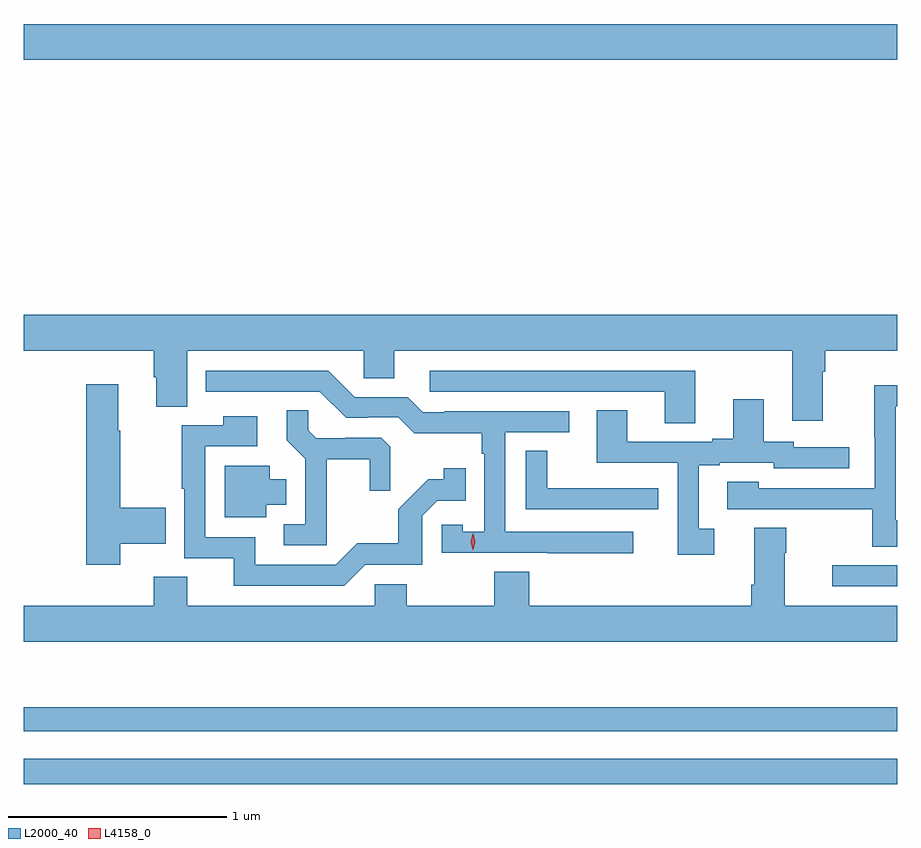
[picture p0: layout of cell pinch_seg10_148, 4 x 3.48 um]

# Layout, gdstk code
import gdstk
lib = gdstk.Library(unit=1e-6, precision=1e-09)
def R(c, l, rs):  # rectangles x0, y0, x1, y1
    for r in rs: c.add(gdstk.rectangle(r[:2], r[2:], *l))
def P(c, l, *ps):  # polygons
    for p in ps: c.add(gdstk.Polygon(p, *l))
L2000_40 = (2000, 40)
L4158_0 = (4158, 0)

pinch_seg10_148 = lib.new_cell('pinch_seg10_148')
R(pinch_seg10_148, L2000_40, [(742.707,1274.356,746.707,1274.472), (742.707,1274.598,746.707,1274.707), (746.409,1275.261,746.707,1275.357), (742.707,1277.672,746.707,1277.836)])
P(pinch_seg10_148, L2000_40, [(746.365,1276.244),(746.378,1276.244),(746.378,1276.34),(746.707,1276.34),(746.707,1276.504),(742.707,1276.504),(742.707,1276.34),(743.303,1276.34),(743.303,1276.218),(743.315,1276.218),(743.315,1276.084),(743.455,1276.084),(743.455,1276.34),(744.264,1276.34),(744.264,1276.213),(744.403,1276.213),(744.403,1276.34),(746.225,1276.34),(746.225,1276.02),(746.365,1276.02)],
  [(745.783,1276.248),(744.567,1276.248),(744.567,1276.152),(745.643,1276.152),(745.643,1276.009),(745.783,1276.009)],
  [(745.498,1275.51),(744.912,1275.51),(744.912,1275.966),(745.204,1275.966),(745.204,1276.062),(744.634,1276.062),(744.634,1276.059),(744.534,1276.059),(744.465,1276.128),(744.222,1276.128),(744.102,1276.248),(743.54,1276.248),(743.54,1276.152),(744.063,1276.152),(744.183,1276.032),(744.284,1276.032),(744.284,1276.035),(744.423,1276.035),(744.496,1275.962),(744.804,1275.962),(744.804,1275.869),(744.816,1275.869),(744.816,1275.511),(744.717,1275.511),(744.717,1275.543),(744.621,1275.543),(744.621,1275.414),(745.105,1275.414),(745.105,1275.412),(745.498,1275.412)],
  [(743.148,1275.455),(743.357,1275.455),(743.357,1275.621),(743.148,1275.621),(743.148,1275.973),(743.14,1275.973),(743.14,1276.186),(742.994,1276.186),(742.994,1275.36),(743.148,1275.36)],
  [(746.707,1275.564),(746.7,1275.564),(746.7,1276.085),(746.707,1276.085),(746.707,1276.183),(746.602,1276.183),(746.602,1275.944),(746.604,1275.944),(746.604,1275.711),(746.073,1275.711),(746.073,1275.739),(745.929,1275.739),(745.929,1275.615),(746.287,1275.615),(746.287,1275.613),(746.592,1275.613),(746.592,1275.442),(746.707,1275.442)],
  [(745.87,1275.525),(745.798,1275.525),(745.798,1275.816),(745.894,1275.816),(745.894,1275.828),(746.142,1275.828),(746.142,1275.801),(746.488,1275.801),(746.488,1275.897),(746.232,1275.897),(746.232,1275.924),(746.095,1275.924),(746.095,1276.117),(745.955,1276.117),(745.955,1275.937),(745.859,1275.937),(745.859,1275.924),(745.471,1275.924),(745.471,1276.067),(745.331,1276.067),(745.331,1275.828),(745.701,1275.828),(745.701,1275.405),(745.87,1275.405)],
  [(744.095,1275.842),(744.292,1275.842),(744.292,1275.699),(744.386,1275.699),(744.386,1275.901),(744.345,1275.942),(744.18,1275.942),(744.18,1275.939),(744.046,1275.939),(744.009,1275.976),(744.009,1276.067),(743.911,1276.067),(743.911,1275.931),(743.997,1275.845),(743.997,1275.546),(743.898,1275.546),(743.898,1275.45),(744.095,1275.45)],
  [(744.27,1275.36),(744.531,1275.36),(744.531,1275.585),(744.6,1275.654),(744.731,1275.654),(744.731,1275.802),(744.63,1275.802),(744.63,1275.752),(744.56,1275.752),(744.423,1275.614),(744.423,1275.459),(744.234,1275.459),(744.135,1275.36),(743.767,1275.36),(743.767,1275.486),(743.538,1275.486),(743.538,1275.903),(743.776,1275.903),(743.776,1276.039),(743.62,1276.039),(743.62,1275.999),(743.43,1275.999),(743.43,1275.709),(743.442,1275.709),(743.442,1275.39),(743.669,1275.39),(743.669,1275.264),(744.174,1275.264)],
  [(745.612,1275.71),(745.499,1275.71),(745.499,1275.711),(745.104,1275.711),(745.104,1275.881),(745.005,1275.881),(745.005,1275.615),(745.612,1275.615)],
  [(743.818,1275.635),(743.908,1275.635),(743.908,1275.751),(743.833,1275.751),(743.833,1275.814),(743.627,1275.814),(743.627,1275.578),(743.818,1275.578)],
  [(746.707,1275.172),(746.191,1275.172),(746.191,1275.416),(746.199,1275.416),(746.199,1275.529),(746.051,1275.529),(746.051,1275.268),(746.039,1275.268),(746.039,1275.172),(745.022,1275.172),(745.022,1275.329),(744.862,1275.329),(744.862,1275.172),(744.462,1275.172),(744.462,1275.27),(744.315,1275.27),(744.315,1275.172),(743.455,1275.172),(743.455,1275.305),(743.303,1275.305),(743.303,1275.172),(742.707,1275.172),(742.707,1275.008),(746.707,1275.008)])
P(pinch_seg10_148, L4158_0, [(744.764,1275.429),(744.755,1275.465),(744.764,1275.501),(744.765,1275.502),(744.765,1275.501),(744.775,1275.465),(744.765,1275.429),(744.765,1275.429)])

lib.write_gds('pinch_seg10_148.gds')
